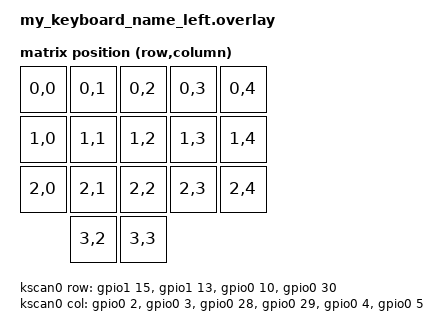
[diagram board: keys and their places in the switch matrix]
// my_keyboard_name_left.overlay

#include <zephyr/dt-bindings/zmk/matrix_transform.h>

/ {
    chosen {
        zmk,kscan = &kscan0;
        zmk,matrix_transform = &default_transform;
        zmk,split = &split;
    };

    kscan0: kscan {
        compatible = "zmk,kscan-gpio-matrix";
        diode-direction = "col2row";

        // ご自身の配線に合わせてピン番号を変更してください
        // XIAOピン: D0, D1, D2, D3
        col-gpios
            = <&gpio0 2>
            , <&gpio0 3>
            , <&gpio0 28>
            , <&gpio0 29>
            , <&gpio0 4>   // D8
            , <&gpio0 5>   // D9
            ;

        // XIAOピン: D6, D7, D10, A3
        row-gpios
            = <&gpio1 15>
            , <&gpio1 13>
            , <&gpio0 10>
            , <&gpio0 30>
            ;
    };

    default_transform: keymap_transform_0 {
        compatible = "zmk,matrix-transform";
        columns = <6>;
        rows = <4>;
        // 左手側のキーマップ
        map = <
        RC(0,0) RC(0,1) RC(0,2) RC(0,3) RC(0,4)
        RC(1,0) RC(1,1) RC(1,2) RC(1,3) RC(1,4)
        RC(2,0) RC(2,1) RC(2,2) RC(2,3) RC(2,4)
                RC(3,2) RC(3,3)
        >;
    };

    split: split {
        compatible = "zmk,split-i2c";
        // 左手側がマスター（USB接続側）になる
        role = "central";
    };

    // I2C設定 (D4, D5ピンを使用)
    &i2c0 {
        status = "okay";
        sda-pin = <&gpio0 6>;  // D4
        scl-pin = <&gpio0 7>;  // D5
    };
};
